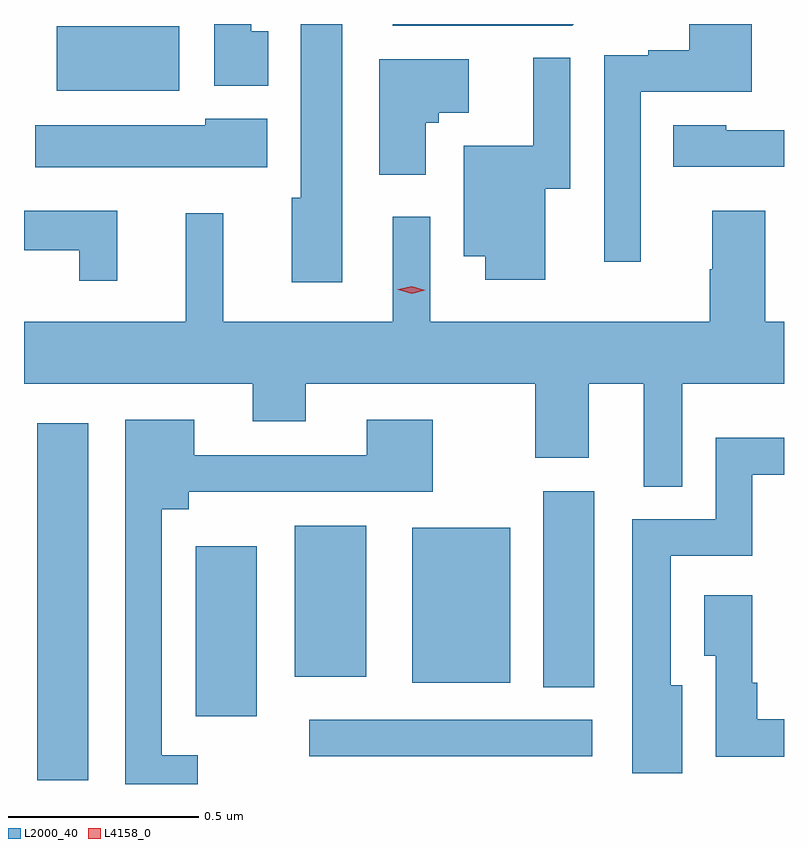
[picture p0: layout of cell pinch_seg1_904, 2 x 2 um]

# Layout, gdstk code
import gdstk
lib = gdstk.Library(unit=1e-6, precision=1e-09)
def R(c, l, rs):  # rectangles x0, y0, x1, y1
    for r in rs: c.add(gdstk.rectangle(r[:2], r[2:], *l))
def P(c, l, *ps):  # polygons
    for p in ps: c.add(gdstk.Polygon(p, *l))
L2000_40 = (2000, 40)
L4158_0 = (4158, 0)

pinch_seg1_904 = lib.new_cell('pinch_seg1_904')
R(pinch_seg1_904, L2000_40, [(502.568,518.721,502.702,519.661), (503.283,518.784,504.028,518.88), (502.985,518.889,503.146,519.337), (503.9,518.965,504.034,519.481), (503.555,518.978,503.812,519.385), (503.246,518.993,503.434,519.391), (502.619,520.535,502.942,520.705)])
P(pinch_seg1_904, L2000_40, [(504.156,520.533),(504.448,520.533),(504.448,520.711),(504.284,520.711),(504.284,520.642),(504.176,520.642),(504.176,520.629),(504.06,520.629),(504.06,520.086),(504.156,520.086)],
  [(503.371,520.711),(503.261,520.711),(503.261,520.254),(503.237,520.254),(503.237,520.032),(503.371,520.032)],
  [(503.98,520.711),(503.504,520.711),(503.504,520.707),(503.976,520.707)],
  [(503.176,520.692),(503.131,520.692),(503.131,520.711),(503.034,520.711),(503.034,520.548),(503.176,520.548)],
  [(503.905,520.277),(503.97,520.277),(503.97,520.622),(503.873,520.622),(503.873,520.39),(503.69,520.39),(503.69,520.1),(503.747,520.1),(503.747,520.038),(503.905,520.038)],
  [(503.59,520.451),(503.625,520.451),(503.625,520.478),(503.704,520.478),(503.704,520.618),(503.468,520.618),(503.468,520.314),(503.59,520.314)],
  [(503.173,520.462),(503.01,520.462),(503.01,520.444),(502.562,520.444),(502.562,520.334),(503.173,520.334)],
  [(504.533,520.431),(504.381,520.431),(504.381,520.444),(504.241,520.444),(504.241,520.335),(504.533,520.335)],
  [(502.778,520.219),(502.533,520.219),(502.533,520.115),(502.679,520.115),(502.679,520.035),(502.778,520.035)],
  [(504.533,519.928),(504.484,519.928),(504.484,520.219),(504.344,520.219),(504.344,520.065),(504.337,520.065),(504.337,519.928),(503.602,519.928),(503.602,520.204),(503.504,520.204),(503.504,519.928),(503.057,519.928),(503.057,520.213),(502.958,520.213),(502.958,519.928),(502.533,519.928),(502.533,519.764),(503.135,519.764),(503.135,519.665),(503.275,519.665),(503.275,519.764),(503.879,519.764),(503.879,519.57),(504.019,519.57),(504.019,519.764),(504.164,519.764),(504.164,519.493),(504.265,519.493),(504.265,519.764),(504.533,519.764)],
  [(502.99,518.787),(502.896,518.787),(502.896,519.434),(502.966,519.434),(502.966,519.48),(503.608,519.48),(503.608,519.67),(503.435,519.67),(503.435,519.576),(502.981,519.576),(502.981,519.67),(502.8,519.67),(502.8,518.711),(502.99,518.711)],
  [(504.265,518.971),(504.235,518.971),(504.235,519.312),(504.45,519.312),(504.45,519.525),(504.533,519.525),(504.533,519.622),(504.354,519.622),(504.354,519.408),(504.134,519.408),(504.134,518.739),(504.265,518.739)],
  [(504.533,518.881),(504.463,518.881),(504.463,518.977),(504.45,518.977),(504.45,519.208),(504.323,519.208),(504.323,519.049),(504.354,519.049),(504.354,518.783),(504.533,518.783)])
P(pinch_seg1_904, L4158_0, [(503.553,520.001),(503.518,520.012),(503.517,520.013),(503.518,520.013),(503.554,520.021),(503.589,520.01),(503.589,520.01),(503.589,520.01)])

lib.write_gds('pinch_seg1_904.gds')
